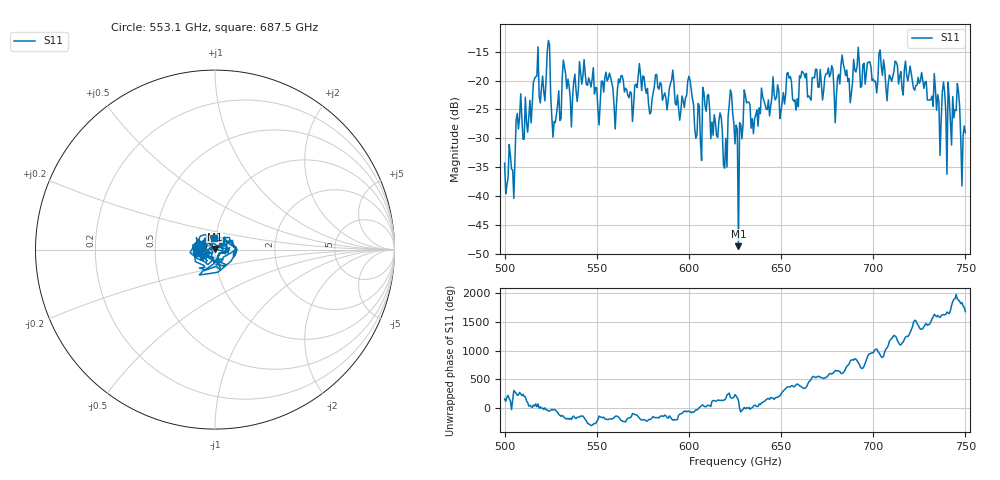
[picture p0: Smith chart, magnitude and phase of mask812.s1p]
!Created with skrf (http://scikit-rf.org).
# GHz S MA R 50.0
!freq magS11 angS11
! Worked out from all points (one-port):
!   401 points, 500 GHz to 750 GHz, reference 50 ohm
!   lowest |S11| = -48.6 dB at 626.9 GHz (marker M1), VSWR 1.01, Z = 49.8 + j0.275 ohm
!   |S11| at or under -10 dB: start of sweep to end of sweep
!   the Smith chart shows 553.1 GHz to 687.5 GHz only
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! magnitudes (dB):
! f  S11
! 500 GHz  -34.3
! 504.4 GHz  -35.5
! 507.5 GHz  -28.4
! 513.8 GHz  -23.4
! 516.9 GHz  -19.3
! 520.6 GHz  -19.2
! 523.8 GHz  -13.1
! 526.9 GHz  -27.1
! 531.2 GHz  -19.5
! 562.5 GHz  -20.4
! 593.8 GHz  -22.5
! 600.6 GHz  -19.9
! 605.6 GHz  -24.4
! 608.8 GHz  -24.4
! 619.4 GHz  -35.1
! 622.5 GHz  -21.6
! 625 GHz  -30.9
! 626.9 GHz  -48.6
! 631.2 GHz  -23.9
! 635 GHz  -29.2
! 656.2 GHz  -23.2
! 683.8 GHz  -17.2
! 687.5 GHz  -23.9
! 690.6 GHz  -18.5
! 718.8 GHz  -20.1
! 741.2 GHz  -23.2
! 745.6 GHz  -20.5
! 750 GHz  -29.0
